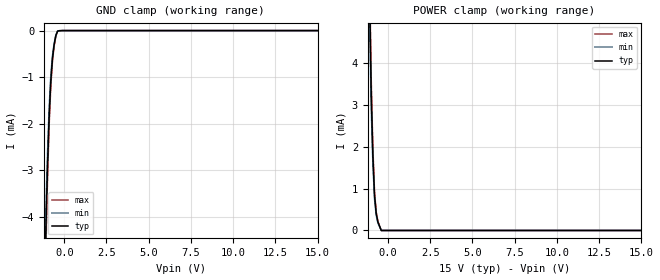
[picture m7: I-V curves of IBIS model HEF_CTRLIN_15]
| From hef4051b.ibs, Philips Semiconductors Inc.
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|   Model HEF_CTRLIN_15
[Model]   HEF_CTRLIN_15
| Clamp curves based on measurements and interpolated to required voltage range
| C_comp are estimated values
Model_type   Input
Vinl = 11V
Vinh = 4V
C_comp   6pF   4.5pF   7.5pF
|Ambient temperature:   25   85   -40
[Temperature Range]   35   95   -30
[Voltage Range]   15   15   15
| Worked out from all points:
|   GND clamp passes 1 mA (typ) near -0.78 V on its own axis
|   POWER clamp passes 1 mA (typ) near -0.82 V on its own axis
|Process Range   nominal   slow   fast
[GND_clamp]
|   voltage   I(typ)   I(min)   I(max)
-15V      -275mA     -247.5mA   -302.5mA
-2V       -17mA      -15.3mA    -18.7mA
-1V       -3mA       -2.7mA     -3.3mA
-900mV    -1.87mA    -1.683mA   -2.057mA
-800mV    -1.09mA    -981uA     -1.199mA
-700mV    -600uA     -540uA     -660uA
-600mV    -300uA     -270uA     -330uA
-500mV    -110uA     -99uA      -121uA
-400mV    -13uA      -11.7uA    -14.3uA
-100mV    0A         0A         0A
15V       0A         0A         0A
[POWER_clamp]
|   voltage   I(typ)   I(min)   I(max)
-15V      296.5mA    266.9mA    326.2mA
-2V       28.32mA    25.49mA    31.15mA
-1V       3.332mA    2.999mA    3.665mA
-900mV    1.8mA      1.62mA     1.98mA
-800mV    833uA      749.7uA    916.3uA
-700mV    400uA      360uA      440uA
-600mV    200uA      180uA      220uA
-400mV    0A         0A         0A
15V       0A         0A         0A
